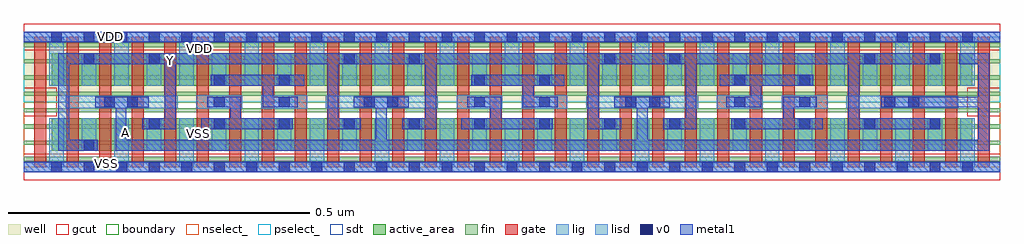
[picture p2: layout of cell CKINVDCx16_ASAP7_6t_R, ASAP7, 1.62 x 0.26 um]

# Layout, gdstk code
import gdstk
lib = gdstk.Library(unit=1e-6, precision=2.5e-10)
def R(c, l, rs):  # rectangles x0, y0, x1, y1
    for r in rs: c.add(gdstk.rectangle(r[:2], r[2:], *l))
def A(c, l, x, y, w, h, nx, ny, dx, dy):  # array of equal rectangles
    R(c, l, [(x+i*dx, y+j*dy, x+i*dx+w, y+j*dy+h) for i in range(nx) for j in range(ny)])
def P(c, l, *ps):  # polygons
    for p in ps: c.add(gdstk.Polygon(p, *l))
well = (1, 0)
fin = (2, 0)
gate = (7, 0)
gcut = (10, 0)
active_area = (11, 0)
nselect_ = (12, 0)
pselect_ = (13, 0)
lig = (16, 0)
lisd = (17, 0)
v0 = (18, 0)
metal1 = (19, 0)
sdt = (88, 0)
boundary = (100, 0)

ckinvdcx16_asap7_6t_r = lib.new_cell('CKINVDCx16_ASAP7_6t_R')
R(ckinvdcx16_asap7_6t_r, well, [(0,0.108,1.62,0.216)])
A(ckinvdcx16_asap7_6t_r, fin, 0, 0.01, 1.62, 0.007, 1, 8, 0, 0.027)
A(ckinvdcx16_asap7_6t_r, gate, 0.017, 0, 0.02, 0.216, 30, 1, 0.054, 0)
R(ckinvdcx16_asap7_6t_r, gcut, [(0,-0.022,1.62,0.022), (0,0.084,0.054,0.132), (1.566,0.084,1.62,0.132), (0,0.194,1.62,0.238)])
R(ckinvdcx16_asap7_6t_r, active_area, [(0.046,0.027,1.574,0.081), (0.046,0.135,1.574,0.189)])
R(ckinvdcx16_asap7_6t_r, nselect_, [(0,0,1.62,0.108)])
R(ckinvdcx16_asap7_6t_r, pselect_, [(0,0.108,1.62,0.216)])
A(ckinvdcx16_asap7_6t_r, lig, 0.069, 0.098, 0.186, 0.02, 4, 1, 0.432, 0)
R(ckinvdcx16_asap7_6t_r, lig, [(0,-0.008,1.62,0.008), (0.286,0.097,0.362,0.119), (0.394,0.097,0.47,0.119), (0.718,0.097,0.794,0.119), (0.826,0.097,0.902,0.119), (1.15,0.097,1.226,0.119), (1.258,0.097,1.334,0.119), (0,0.208,1.62,0.224)])
A(ckinvdcx16_asap7_6t_r, lisd, 0.042, 0, 0.024, 0.081, 15, 2, 0.108, 0.135)
A(ckinvdcx16_asap7_6t_r, lisd, 0.096, 0.027, 0.024, 0.054, 14, 2, 0.108, 0.108)
A(ckinvdcx16_asap7_6t_r, v0, 0.045, -0.009, 0.018, 0.018, 29, 2, 0.054, 0.216)
A(ckinvdcx16_asap7_6t_r, v0, 0.207, 0.063, 0.018, 0.018, 13, 1, 0.108, 0)
R(ckinvdcx16_asap7_6t_r, v0, [(0.099,0.027,0.117,0.045), (0.133,0.099,0.151,0.117), (0.171,0.099,0.189,0.117), (0.315,0.099,0.333,0.117), (0.423,0.099,0.441,0.117), (0.564,0.099,0.582,0.117), (0.603,0.099,0.621,0.117), (0.747,0.099,0.765,0.117), (0.855,0.099,0.873,0.117), (0.998,0.099,1.016,0.117), (1.038,0.099,1.056,0.117), (1.179,0.099,1.197,0.117), (1.287,0.099,1.305,0.117), (1.428,0.099,1.446,0.117), (1.468,0.099,1.486,0.117), (0.315,0.135,0.333,0.153), (0.423,0.135,0.441,0.153), (0.747,0.135,0.765,0.153), (0.855,0.135,0.873,0.153), (1.179,0.135,1.197,0.153), (1.287,0.135,1.305,0.153), (0.099,0.171,0.117,0.189), (0.207,0.171,0.225,0.189), (0.531,0.171,0.549,0.189), (0.639,0.171,0.657,0.189), (0.963,0.171,0.981,0.189), (1.071,0.171,1.089,0.189), (1.395,0.171,1.413,0.189), (1.503,0.171,1.521,0.189)])
R(ckinvdcx16_asap7_6t_r, metal1, [(0,-0.009,1.62,0.009), (1.423,0.099,1.602,0.117), (0,0.207,1.62,0.225)])
P(ckinvdcx16_asap7_6t_r, metal1, [(1.521,0.189),(0.057,0.189),(0.057,0.027),(0.122,0.027),(0.122,0.045),(0.075,0.045),(0.075,0.171),(0.234,0.171),(0.234,0.081),(0.196,0.081),(0.196,0.063),(0.252,0.063),(0.252,0.171),(0.504,0.171),(0.504,0.063),(0.559,0.063),(0.559,0.081),(0.522,0.081),(0.522,0.171),(0.666,0.171),(0.666,0.081),(0.628,0.081),(0.628,0.063),(0.684,0.063),(0.684,0.171),(0.936,0.171),(0.936,0.063),(0.991,0.063),(0.991,0.081),(0.954,0.081),(0.954,0.171),(1.098,0.171),(1.098,0.081),(1.061,0.081),(1.061,0.063),(1.116,0.063),(1.116,0.171),(1.368,0.171),(1.368,0.063),(1.521,0.063),(1.521,0.081),(1.386,0.081),(1.386,0.171),(1.521,0.171)],
  [(1.602,0.189),(1.552,0.189),(1.552,0.171),(1.584,0.171),(1.584,0.045),(1.035,0.045),(1.035,0.099),(1.072,0.099),(1.072,0.117),(0.98,0.117),(0.98,0.099),(1.017,0.099),(1.017,0.045),(0.602,0.045),(0.602,0.099),(0.639,0.099),(0.639,0.117),(0.547,0.117),(0.547,0.099),(0.584,0.099),(0.584,0.045),(0.17,0.045),(0.17,0.099),(0.207,0.099),(0.207,0.117),(0.118,0.117),(0.118,0.099),(0.152,0.099),(0.152,0.027),(1.602,0.027)],
  [(1.326,0.081),(1.278,0.081),(1.278,0.099),(1.316,0.099),(1.316,0.117),(1.26,0.117),(1.26,0.081),(1.174,0.081),(1.174,0.063),(1.326,0.063)],
  [(1.31,0.153),(1.155,0.153),(1.155,0.135),(1.206,0.135),(1.206,0.117),(1.166,0.117),(1.166,0.099),(1.224,0.099),(1.224,0.135),(1.31,0.135)],
  [(0.897,0.153),(0.742,0.153),(0.742,0.135),(0.828,0.135),(0.828,0.099),(0.886,0.099),(0.886,0.117),(0.846,0.117),(0.846,0.135),(0.897,0.135)],
  [(0.878,0.081),(0.792,0.081),(0.792,0.117),(0.736,0.117),(0.736,0.099),(0.774,0.099),(0.774,0.081),(0.726,0.081),(0.726,0.063),(0.878,0.063)],
  [(0.465,0.153),(0.31,0.153),(0.31,0.135),(0.396,0.135),(0.396,0.099),(0.454,0.099),(0.454,0.117),(0.414,0.117),(0.414,0.135),(0.465,0.135)],
  [(0.446,0.081),(0.36,0.081),(0.36,0.117),(0.304,0.117),(0.304,0.099),(0.342,0.099),(0.342,0.081),(0.294,0.081),(0.294,0.063),(0.446,0.063)])
A(ckinvdcx16_asap7_6t_r, sdt, 0.042, 0.027, 0.024, 0.054, 29, 2, 0.054, 0.108)
R(ckinvdcx16_asap7_6t_r, boundary, [(0,0,1.62,0.216)])
ckinvdcx16_asap7_6t_r.add(gdstk.Label('VDD', (0.292,0.197), layer=1, texttype=251))
ckinvdcx16_asap7_6t_r.add(gdstk.Label('VSS', (0.289,0.055), layer=3, texttype=251))
ckinvdcx16_asap7_6t_r.add(gdstk.Label('VSS', (0.137,0.006), layer=19, texttype=251))
ckinvdcx16_asap7_6t_r.add(gdstk.Label('VDD', (0.144,0.2165), layer=19, texttype=251))
ckinvdcx16_asap7_6t_r.add(gdstk.Label('A', (0.168,0.057), layer=19, texttype=251))
ckinvdcx16_asap7_6t_r.add(gdstk.Label('Y', (0.243,0.177), layer=19, texttype=251))

lib.write_gds('CKINVDCx16_ASAP7_6t_R.gds')
